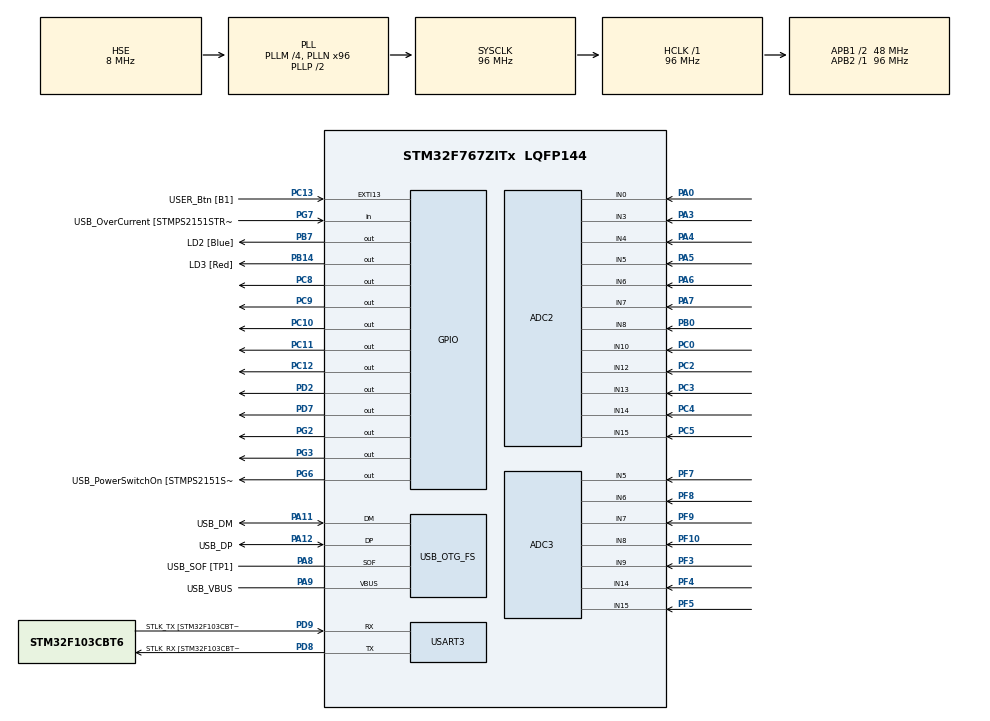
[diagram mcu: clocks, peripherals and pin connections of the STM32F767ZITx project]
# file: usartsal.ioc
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ADC2.Channel-0\#ChannelRegularConversion=ADC_CHANNEL_3
ADC2.Channel-1\#ChannelRegularConversion=ADC_CHANNEL_10
ADC2.Channel-10\#ChannelRegularConversion=ADC_CHANNEL_14
ADC2.Channel-11\#ChannelRegularConversion=ADC_CHANNEL_12
ADC2.Channel-2\#ChannelRegularConversion=ADC_CHANNEL_13
ADC2.Channel-3\#ChannelRegularConversion=ADC_CHANNEL_7
ADC2.Channel-4\#ChannelRegularConversion=ADC_CHANNEL_4
ADC2.Channel-5\#ChannelRegularConversion=ADC_CHANNEL_5
ADC2.Channel-6\#ChannelRegularConversion=ADC_CHANNEL_6
ADC2.Channel-7\#ChannelRegularConversion=ADC_CHANNEL_0
ADC2.Channel-8\#ChannelRegularConversion=ADC_CHANNEL_15
ADC2.Channel-9\#ChannelRegularConversion=ADC_CHANNEL_8
ADC2.ClockPrescaler=ADC_CLOCK_SYNC_PCLK_DIV4
ADC2.ContinuousConvMode=ENABLE
ADC2.DMAContinuousRequests=ENABLE
ADC2.NbrOfConversion=12
ADC2.NbrOfConversionFlag=1
ADC2.Rank-0\#ChannelRegularConversion=1
ADC2.Rank-1\#ChannelRegularConversion=2
ADC2.Rank-10\#ChannelRegularConversion=11
ADC2.Rank-11\#ChannelRegularConversion=12
ADC2.Rank-2\#ChannelRegularConversion=3
ADC2.Rank-3\#ChannelRegularConversion=4
ADC2.Rank-4\#ChannelRegularConversion=5
ADC2.Rank-5\#ChannelRegularConversion=6
ADC2.Rank-6\#ChannelRegularConversion=7
ADC2.Rank-7\#ChannelRegularConversion=8
ADC2.Rank-8\#ChannelRegularConversion=9
ADC2.Rank-9\#ChannelRegularConversion=10
ADC2.SamplingTime-0\#ChannelRegularConversion=ADC_SAMPLETIME_480CYCLES
ADC2.SamplingTime-1\#ChannelRegularConversion=ADC_SAMPLETIME_480CYCLES
ADC2.SamplingTime-10\#ChannelRegularConversion=ADC_SAMPLETIME_480CYCLES
ADC2.SamplingTime-11\#ChannelRegularConversion=ADC_SAMPLETIME_480CYCLES
ADC2.SamplingTime-2\#ChannelRegularConversion=ADC_SAMPLETIME_480CYCLES
ADC2.SamplingTime-3\#ChannelRegularConversion=ADC_SAMPLETIME_480CYCLES
ADC2.SamplingTime-4\#ChannelRegularConversion=ADC_SAMPLETIME_480CYCLES
ADC2.SamplingTime-5\#ChannelRegularConversion=ADC_SAMPLETIME_480CYCLES
ADC2.SamplingTime-6\#ChannelRegularConversion=ADC_SAMPLETIME_480CYCLES
ADC2.SamplingTime-7\#ChannelRegularConversion=ADC_SAMPLETIME_480CYCLES
ADC2.SamplingTime-8\#ChannelRegularConversion=ADC_SAMPLETIME_480CYCLES
ADC2.SamplingTime-9\#ChannelRegularConversion=ADC_SAMPLETIME_480CYCLES
ADC3.Channel-0\#ChannelRegularConversion=ADC_CHANNEL_9
ADC3.Channel-1\#ChannelRegularConversion=ADC_CHANNEL_15
ADC3.Channel-2\#ChannelRegularConversion=ADC_CHANNEL_8
ADC3.Channel-3\#ChannelRegularConversion=ADC_CHANNEL_6
ADC3.Channel-4\#ChannelRegularConversion=ADC_CHANNEL_5
ADC3.Channel-5\#ChannelRegularConversion=ADC_CHANNEL_7
ADC3.Channel-6\#ChannelRegularConversion=ADC_CHANNEL_14
ADC3.ClockPrescaler=ADC_CLOCK_SYNC_PCLK_DIV4
ADC3.ContinuousConvMode=ENABLE
ADC3.DMAContinuousRequests=ENABLE
ADC3.NbrOfConversion=7
ADC3.NbrOfConversionFlag=1
ADC3.Rank-0\#ChannelRegularConversion=1
ADC3.Rank-1\#ChannelRegularConversion=2
ADC3.Rank-2\#ChannelRegularConversion=3
ADC3.Rank-3\#ChannelRegularConversion=4
ADC3.Rank-4\#ChannelRegularConversion=5
ADC3.Rank-5\#ChannelRegularConversion=6
ADC3.Rank-6\#ChannelRegularConversion=7
ADC3.SamplingTime-0\#ChannelRegularConversion=ADC_SAMPLETIME_480CYCLES
ADC3.SamplingTime-1\#ChannelRegularConversion=ADC_SAMPLETIME_480CYCLES
ADC3.SamplingTime-2\#ChannelRegularConversion=ADC_SAMPLETIME_480CYCLES
ADC3.SamplingTime-3\#ChannelRegularConversion=ADC_SAMPLETIME_480CYCLES
ADC3.SamplingTime-4\#ChannelRegularConversion=ADC_SAMPLETIME_480CYCLES
ADC3.SamplingTime-5\#ChannelRegularConversion=ADC_SAMPLETIME_480CYCLES
ADC3.SamplingTime-6\#ChannelRegularConversion=ADC_SAMPLETIME_480CYCLES
ADC3.ScanConvMode=ADC_SCAN_ENABLE
Dma.ADC2.1.Direction=DMA_PERIPH_TO_MEMORY
Dma.ADC2.1.FIFOMode=DMA_FIFOMODE_DISABLE
Dma.ADC2.1.Instance=DMA2_Stream2
Dma.ADC2.1.MemDataAlignment=DMA_MDATAALIGN_HALFWORD
Dma.ADC2.1.MemInc=DMA_MINC_ENABLE
Dma.ADC2.1.Mode=DMA_CIRCULAR
Dma.ADC2.1.PeriphDataAlignment=DMA_PDATAALIGN_HALFWORD
Dma.ADC2.1.PeriphInc=DMA_PINC_DISABLE
Dma.ADC2.1.Priority=DMA_PRIORITY_VERY_HIGH
Dma.ADC3.2.Direction=DMA_PERIPH_TO_MEMORY
Dma.ADC3.2.FIFOMode=DMA_FIFOMODE_DISABLE
Dma.ADC3.2.Instance=DMA2_Stream0
Dma.ADC3.2.MemDataAlignment=DMA_MDATAALIGN_HALFWORD
Dma.ADC3.2.MemInc=DMA_MINC_ENABLE
Dma.ADC3.2.Mode=DMA_CIRCULAR
Dma.ADC3.2.PeriphDataAlignment=DMA_PDATAALIGN_HALFWORD
Dma.ADC3.2.PeriphInc=DMA_PINC_DISABLE
Dma.ADC3.2.Priority=DMA_PRIORITY_VERY_HIGH
Dma.Request0=USART3_TX
Dma.Request1=ADC2
Dma.Request2=ADC3
Dma.USART3_TX.0.Direction=DMA_MEMORY_TO_PERIPH
Dma.USART3_TX.0.FIFOMode=DMA_FIFOMODE_DISABLE
Dma.USART3_TX.0.Instance=DMA1_Stream3
Dma.USART3_TX.0.MemDataAlignment=DMA_MDATAALIGN_BYTE
Dma.USART3_TX.0.MemInc=DMA_MINC_ENABLE
Dma.USART3_TX.0.Mode=DMA_NORMAL
Dma.USART3_TX.0.PeriphDataAlignment=DMA_PDATAALIGN_BYTE
Dma.USART3_TX.0.PeriphInc=DMA_PINC_DISABLE
Dma.USART3_TX.0.Priority=DMA_PRIORITY_LOW
Mcu.Family=STM32F7
Mcu.Name=STM32F767ZITx
Mcu.Package=LQFP144
NVIC.ADC_IRQn=true\:1\:0\:true\:false\:true\:true\:true\:true
NVIC.DMA1_Stream3_IRQn=true\:1\:0\:true\:false\:true\:false\:true\:true
NVIC.DMA2_Stream0_IRQn=true\:1\:0\:true\:false\:true\:false\:true\:true
NVIC.DMA2_Stream2_IRQn=true\:1\:0\:true\:false\:true\:false\:true\:true
NVIC.PriorityGroup=NVIC_PRIORITYGROUP_4
NVIC.USART3_IRQn=true\:1\:0\:true\:false\:true\:true\:true\:true
PA0/WKUP.Signal=ADCx_IN0
PA1.GPIO_Label=RMII_REF_CLK [LAN8742A-CZ-TR_REFCLK0]
PA1.Signal=ETH_REF_CLK
PA10.GPIO_Label=USB_ID
PA10.Signal=USB_OTG_FS_ID
PA11.GPIO_Label=USB_DM
PA11.Mode=Device_Only
PA11.Signal=USB_OTG_FS_DM
PA12.GPIO_Label=USB_DP
PA12.Mode=Device_Only
PA12.Signal=USB_OTG_FS_DP
PA13.GPIO_Label=TMS
PA13.Mode=Serial_Wire
PA13.Signal=SYS_JTMS-SWDIO
PA14.GPIO_Label=TCK
PA14.Mode=Serial_Wire
PA14.Signal=SYS_JTCK-SWCLK
PA2.GPIO_Label=RMII_MDIO [LAN8742A-CZ-TR_MDIO]
PA2.Signal=ETH_MDIO
PA3.Signal=ADCx_IN3
PA4.Signal=ADCx_IN4
PA5.Signal=ADCx_IN5
PA6.Signal=ADCx_IN6
PA7.Signal=ADCx_IN7
PA8.GPIO_Label=USB_SOF [TP1]
PA8.Mode=Activate_SOF_FS
PA8.Signal=USB_OTG_FS_SOF
PA9.GPIO_Label=USB_VBUS
PA9.Mode=Activate_VBUS
PA9.Signal=USB_OTG_FS_VBUS
PB0.Signal=ADCx_IN8
PB13.GPIO_Label=RMII_TXD1 [LAN8742A-CZ-TR_TXD1]
PB13.Signal=ETH_TXD1
PB14.GPIO_Label=LD3 [Red]
PB14.Signal=GPIO_Output
PB3.GPIO_Label=SWO
PB3.Signal=SYS_JTDO-SWO
PB7.GPIO_Label=LD2 [Blue]
PB7.Signal=GPIO_Output
PC0.Signal=ADCx_IN10
PC1.GPIO_Label=RMII_MDC [LAN8742A-CZ-TR_MDC]
PC1.Signal=ETH_MDC
PC10.Signal=GPIO_Output
PC11.Signal=GPIO_Output
PC12.Signal=GPIO_Output
PC13.GPIO_Label=USER_Btn [B1]
PC13.Signal=GPXTI13
PC14/OSC32_IN.Mode=LSE-External-Oscillator
PC14/OSC32_IN.Signal=RCC_OSC32_IN
PC15/OSC32_OUT.Mode=LSE-External-Oscillator
PC15/OSC32_OUT.Signal=RCC_OSC32_OUT
PC2.Signal=ADCx_IN12
PC3.Signal=ADCx_IN13
PC4.Signal=ADCx_IN14
PC5.Signal=ADCx_IN15
PC8.Signal=GPIO_Output
PC9.Signal=GPIO_Output
PD2.Signal=GPIO_Output
PD7.Signal=GPIO_Output
PD8.GPIO_Label=STLK_RX [STM32F103CBT6_PA3]
PD8.GPIO_PuPd=GPIO_PULLUP
PD8.GPIO_Speed=GPIO_SPEED_FREQ_VERY_HIGH
PD8.Mode=Asynchronous
PD8.Signal=USART3_TX
PD9.GPIO_Label=STLK_TX [STM32F103CBT6_PA2]
PD9.GPIO_PuPd=GPIO_PULLUP
PD9.GPIO_Speed=GPIO_SPEED_FREQ_VERY_HIGH
PD9.Mode=Asynchronous
PD9.Signal=USART3_RX
PF10.Mode=IN8
PF10.Signal=ADC3_IN8
PF3.Mode=IN9
PF3.Signal=ADC3_IN9
PF4.Mode=IN14
PF4.Signal=ADC3_IN14
PF5.Mode=IN15
PF5.Signal=ADC3_IN15
PF7.Mode=IN5
PF7.Signal=ADC3_IN5
PF8.Mode=IN6
PF8.Signal=ADC3_IN6
PF9.Mode=IN7
PF9.Signal=ADC3_IN7
PG11.GPIO_Label=RMII_TX_EN [LAN8742A-CZ-TR_TXEN]
PG11.Signal=ETH_TX_EN
PG13.GPIO_Label=RMII_TXD0 [LAN8742A-CZ-TR_TXD0]
PG13.Signal=ETH_TXD0
PG2.Signal=GPIO_Output
PG3.Signal=GPIO_Output
PG6.GPIO_Label=USB_PowerSwitchOn [STMPS2151STR_EN]
PG6.Signal=GPIO_Output
PG7.GPIO_Label=USB_OverCurrent [STMPS2151STR_FAULT]
PG7.Signal=GPIO_Input
PH0/OSC_IN.GPIO_Label=MCO [STM32F103CBT6_PA8]
PH0/OSC_IN.Mode=HSE-External-Clock-Source
PH0/OSC_IN.Signal=RCC_OSC_IN
PH1/OSC_OUT.Mode=HSE-External-Clock-Source
PH1/OSC_OUT.Signal=RCC_OSC_OUT
ProjectManager.HeapSize=0x200
ProjectManager.StackSize=0x400
ProjectManager.TargetToolchain=STM32CubeIDE
RCC.48MHZClocksFreq_Value=24000000
RCC.AHBFreq_Value=96000000
RCC.APB1CLKDivider=RCC_HCLK_DIV2
RCC.APB1Freq_Value=48000000
RCC.APB1TimFreq_Value=96000000
RCC.APB2Freq_Value=96000000
RCC.APB2TimFreq_Value=96000000
RCC.CortexFreq_Value=96000000
RCC.HCLKFreq_Value=96000000
RCC.HSE_VALUE=8000000
RCC.HSI_VALUE=16000000
RCC.PLLM=4
RCC.PLLMUL=RCC_PLL_MUL9
RCC.PLLN=96
RCC.PLLQ=4
RCC.PRESCALERUSB=RCC_USBCLKSOURCE_PLL_DIV1_5
RCC.SYSCLKFreq_VALUE=96000000
RCC.SYSCLKSource=RCC_SYSCLKSOURCE_PLLCLK
RCC.SYSCLKSourceVirtual=RCC_SYSCLKSOURCE_PLLCLK
RCC.USBFreq_Value=48000000
RCC.VCOOutputFreq_Value=192000000
SH.ADCx_IN0.0=ADC2_IN0,IN0
SH.ADCx_IN10.0=ADC2_IN10,IN10
SH.ADCx_IN12.0=ADC2_IN12,IN12
SH.ADCx_IN13.0=ADC2_IN13,IN13
SH.ADCx_IN14.0=ADC2_IN14,IN14
SH.ADCx_IN15.0=ADC1_IN15
SH.ADCx_IN15.1=ADC2_IN15,IN15
SH.ADCx_IN3.0=ADC2_IN3,IN3
SH.ADCx_IN4.0=ADC2_IN4,IN4
SH.ADCx_IN5.0=ADC2_IN5,IN5
SH.ADCx_IN6.0=ADC2_IN6,IN6
SH.ADCx_IN7.0=ADC1_IN7
SH.ADCx_IN7.1=ADC2_IN7,IN7
SH.ADCx_IN8.0=ADC2_IN8,IN8
USART3.VirtualMode-Asynchronous=VM_ASYNC
USB_OTG_FS.VirtualMode=Device_Only
board=NUCLEO-F767ZI

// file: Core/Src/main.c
/* USER CODE BEGIN Header */
/**
  ******************************************************************************
  * @file           : main.c
  * @brief          : Main program body
  ******************************************************************************
  * @attention
  *
  * Copyright (c) 2025 STMicroelectronics.
  * All rights reserved.
  *
  * This software is licensed under terms that can be found in the LICENSE file
  * in the root directory of this software component.
  * If no LICENSE file comes with this software, it is provided AS-IS.
  *
  ******************************************************************************
  */
/* USER CODE END Header */
#include "main.h"
#include "adc.h"
#include "dma.h"
#include "usart.h"
#include "usb_otg.h"
#include "gpio.h"

/* USER CODE BEGIN Includes */
#include "main.h"
#include <string.h>
#include <stdio.h>
#include <math.h>
#include <stdbool.h>

/* USER CODE END Includes */

/* USER CODE BEGIN PTD */

extern float adc203, adc210, adc213, adc204, adc207;
extern float adc206, adc205, adc200, adc215, adc208;
extern float adc214, adc212, adc210;

extern float adc309, adc315, adc308, adc306;
extern float adc305, adc307, adc314;

uint8_t rx_byte;
char tx_msg[64];
uint32_t tick = 0;
uint8_t counter = 0;

volatile uint8_t dma_ready = 1;

int count2 = 0;
int count3 = 0;

/* USER CODE END PTD */

void SystemClock_Config(void);

/* USER CODE BEGIN 0 */

uint8_t led1_state = 0;
uint8_t led2_state = 0;
uint8_t led3_state = 0;

void HAL_UART_RxCpltCallback(UART_HandleTypeDef *huart)
{
    if (huart->Instance == USART3)
    {
        switch(rx_byte)
        {
            case '1':
                led1_state = !led1_state;
                HAL_GPIO_WritePin(GPIOB, GPIO_PIN_0, led1_state);
                break;

            case '2':
                led2_state = !led2_state;
                HAL_GPIO_WritePin(GPIOB, GPIO_PIN_7, led2_state);
                break;

            case '3':
                led3_state = !led3_state;
                HAL_GPIO_WritePin(GPIOB, GPIO_PIN_14, led3_state);
                break;
        }

        HAL_UART_Receive_IT(&huart3, &rx_byte, 1);  // tekrar dinlemeye başla
    }
}

void HAL_UART_TxCpltCallback(UART_HandleTypeDef *huart)
{
    if (huart->Instance == USART3)
    {
        dma_ready = 1;  // 👈 BU TEK BURAYA!
    }
}

/* USER CODE END 0 */

int main(void)
{

  /* MCU Configuration--------------------------------------------------------*/

  /* Reset of all peripherals, Initializes the Flash interface and the Systick. */
  HAL_Init();

  /* Configure the system clock */
  SystemClock_Config();

  /* Initialize all configured peripherals */
  MX_GPIO_Init();
  MX_DMA_Init();
  MX_USART3_UART_Init();
  MX_USB_OTG_FS_PCD_Init();
  MX_ADC2_Init();
  MX_ADC3_Init();
  /* USER CODE BEGIN 2 */

  HAL_UART_Receive_IT(&huart3, &rx_byte, 1);
  /* USER CODE END 2 */

  // Ana döngüde güvenli DMA kullanımı
  while (1)
  {
      // Sadece ADC işlemleri tamamlandıysa ve DMA hazırsa yeni veri gönder
      if (isADC2Finished == 1 && isADC3Finished == 1)
      {
          isADC2Finished = 0;
          isADC3Finished = 0;
          Start_ADC2_DMA();
          Start_ADC3_DMA();

          float P1 = ReadingToADCVoltage(adc203);
          // ... diğer sensör hesaplamaları ...
      }

      // --- DMA transferi bitene kadar bekle ---
      if (HAL_GetTick() - tick >= 2000) // 2 saniyede bir veri gönder
      {
          if (dma_ready) {
              tick = HAL_GetTick();
              counter++;

              if (counter <= 25)
              {
                  snprintf(tx_msg, sizeof(tx_msg), "LD1: %s\r\n", led1_state ? "ON" : "OFF");
                  dma_ready = 0;
                  HAL_UART_Transmit_DMA(&huart3, (uint8_t*)tx_msg, strlen(tx_msg));
                  // Burada HAL_Delay kullanmana gerek yok!
              }
          }
          // Eğer dma_ready == 0 ise, bir önceki DMA transferinin bitmesini bekle
      }

      // ... başka veri göndermek istiyorsan, yine önce dma_ready == 1 olmasını bekle ...

      // CPU'yu yormamak için kısa bir bekleme (opsiyonel)
      HAL_Delay(1);
  }

  /* USER CODE END 3 */
}

void SystemClock_Config(void)
{
  RCC_OscInitTypeDef RCC_OscInitStruct = {0};
  RCC_ClkInitTypeDef RCC_ClkInitStruct = {0};

  /** Configure LSE Drive Capability
  */
  HAL_PWR_EnableBkUpAccess();

  /** Configure the main internal regulator output voltage
  */
  __HAL_RCC_PWR_CLK_ENABLE();
  __HAL_PWR_VOLTAGESCALING_CONFIG(PWR_REGULATOR_VOLTAGE_SCALE3);

  /** Initializes the RCC Oscillators according to the specified parameters
  * in the RCC_OscInitTypeDef structure.
  */
  RCC_OscInitStruct.OscillatorType = RCC_OSCILLATORTYPE_HSE;
  RCC_OscInitStruct.HSEState = RCC_HSE_BYPASS;
  RCC_OscInitStruct.PLL.PLLState = RCC_PLL_ON;
  RCC_OscInitStruct.PLL.PLLSource = RCC_PLLSOURCE_HSE;
  RCC_OscInitStruct.PLL.PLLM = 4;
  RCC_OscInitStruct.PLL.PLLN = 96;
  RCC_OscInitStruct.PLL.PLLP = RCC_PLLP_DIV2;
  RCC_OscInitStruct.PLL.PLLQ = 4;
  RCC_OscInitStruct.PLL.PLLR = 2;
  if (HAL_RCC_OscConfig(&RCC_OscInitStruct) != HAL_OK)
  {
    Error_Handler();
  }

  /** Activate the Over-Drive mode
  */
  if (HAL_PWREx_EnableOverDrive() != HAL_OK)
  {
    Error_Handler();
  }

  /** Initializes the CPU, AHB and APB buses clocks
  */
  RCC_ClkInitStruct.ClockType = RCC_CLOCKTYPE_HCLK|RCC_CLOCKTYPE_SYSCLK
                              |RCC_CLOCKTYPE_PCLK1|RCC_CLOCKTYPE_PCLK2;
  RCC_ClkInitStruct.SYSCLKSource = RCC_SYSCLKSOURCE_PLLCLK;
  RCC_ClkInitStruct.AHBCLKDivider = RCC_SYSCLK_DIV1;
  RCC_ClkInitStruct.APB1CLKDivider = RCC_HCLK_DIV2;
  RCC_ClkInitStruct.APB2CLKDivider = RCC_HCLK_DIV1;

  if (HAL_RCC_ClockConfig(&RCC_ClkInitStruct, FLASH_LATENCY_3) != HAL_OK)
  {
    Error_Handler();
  }
}

void Error_Handler(void)
{
  __disable_irq();
  while (1)
  {
  }
}
